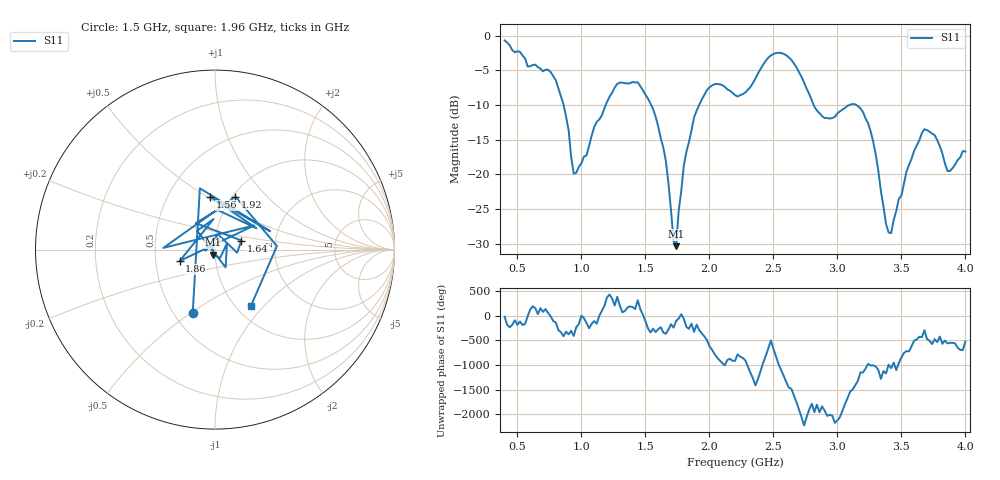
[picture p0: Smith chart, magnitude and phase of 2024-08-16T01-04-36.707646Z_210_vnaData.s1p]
!Created with skrf (http://scikit-rf.org).
# Hz S RI R 50.0
!freq ReS11 ImS11
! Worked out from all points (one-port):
!   181 points, 400 MHz to 4 GHz, reference 50 ohm
!   lowest |S11| = -30.4 dB at 1.74 GHz (marker M1), VSWR 1.06, Z = 48.9 - j2.78 ohm
!   |S11| at or under -10 dB: 861.1 MHz to 1.19 GHz (329.1 MHz wide, 32.1 % of centre); 1.545 GHz to 1.92 GHz (375.1 MHz wide, 21.6 % of centre); 3.147 GHz to end of sweep (the widest 3 of 4)
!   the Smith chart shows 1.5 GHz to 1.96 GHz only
!   S11 on the Smith chart (normalised r, x): 1.5 GHz: 0.62, -0.51; 1.56 GHz: 0.80, +0.52; 1.64 GHz: 1.34, +0.14; 1.86 GHz: 0.67, -0.09; 1.92 GHz: 1.03, +0.68; 1.96 GHz: 1.16, -0.85
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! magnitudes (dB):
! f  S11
! 400 MHz  -0.7
! 760 MHz  -5.3
! 860 MHz  -9.9
! 940 MHz  -19.9
! 960 MHz  -19.8
! 1.3 GHz  -6.8
! 1.5 GHz  -8.5
! 1.56 GHz  -10.6
! 1.64 GHz  -16.1
! 1.72 GHz  -29.6
! 1.74 GHz  -30.4
! 1.76 GHz  -25.3
! 1.8 GHz  -18.8
! 1.86 GHz  -13.7
! 1.92 GHz  -10.0
! 1.96 GHz  -8.5
! 2.2 GHz  -8.6
! 2.5 GHz  -2.6
! 2.66 GHz  -4.0
! 2.9 GHz  -11.9
! 3.1 GHz  -10.0
! 3.26 GHz  -13.8
! 3.4 GHz  -28.4
! 3.56 GHz  -18.7
! 3.68 GHz  -13.5
! 3.76 GHz  -14.3
! 3.86 GHz  -19.5
! 4 GHz  -16.7
